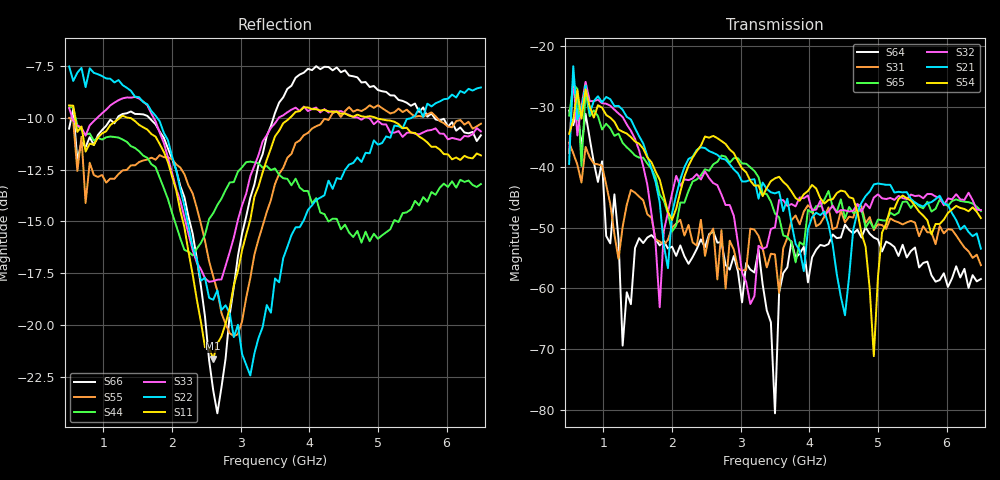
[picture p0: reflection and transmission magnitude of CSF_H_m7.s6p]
!Keysight Technologies,M9804A,MY58100912,A.14.10.03
!Date: Thursday, April 27, 2023 10:28:33
!Correction: S11(C  6-Port  )
!S12(C  6-Port  )
!S13(C  6-Port  )
!S14(C  6-Port  )
!S15(C  6-Port  )
!S16(C  6-Port  )
!S21(C  6-Port  )
!S22(C  6-Port  )
!S23(C  6-Port  )
!S24(C  6-Port  )
!S25(C  6-Port  )
!S26(C  6-Port  )
!S31(C  6-Port  )
!S32(C  6-Port  )
!S33(C  6-Port  )
!S34(C  6-Port  )
!S35(C  6-Port  )
!S36(C  6-Port  )
!S41(C  6-Port  )
!S42(C  6-Port  )
!S43(C  6-Port  )
!S44(C  6-Port  )
!S45(C  6-Port  )
!S46(C  6-Port  )
!S51(C  6-Port  )
!S52(C  6-Port  )
!S53(C  6-Port  )
!S54(C  6-Port  )
!S55(C  6-Port  )
!S56(C  6-Port  )
!S61(C  6-Port  )
!S62(C  6-Port  )
!S63(C  6-Port  )
!S64(C  6-Port  )
!S65(C  6-Port  )
!S66(C  6-Port  )
!S6P File: Measurement: :
# Hz S  RI  R 50
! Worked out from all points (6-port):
!   101 points, 500 MHz to 6.5 GHz, reference 50 ohm
!   strongest paths, dB at 500 MHz, 2 GHz, 3.5 GHz, 5 GHz, 6.5 GHz:
!     S54: -34.5, -48.7, -41.9, -58.1, -48.4
!     S21: -39.5, -47.6, -44.3, -42.7, -53.4
!     S32: -37.6, -44.3, -49.9, -44.5, -47.1
!     S65: -31.5, -50.6, -47.7, -48.6, -47.2
!     S31: -36.0, -50.0, -54.4, -49.4, -56.2
!     S64: -30.7, -53.1, -80.6, -51.9, -58.5
!   lowest |S11| = -21.6 dB at 2.6 GHz (marker M1), VSWR 1.18, Z = 42.6 + j2 ohm
!   |S11| at or under -10 dB: 588 MHz to 1.239 GHz (651.1 MHz wide, 71.3 % of centre); 1.382 GHz to 3.716 GHz (2.334 GHz wide, 91.5 % of centre); 4.971 GHz to end of sweep
